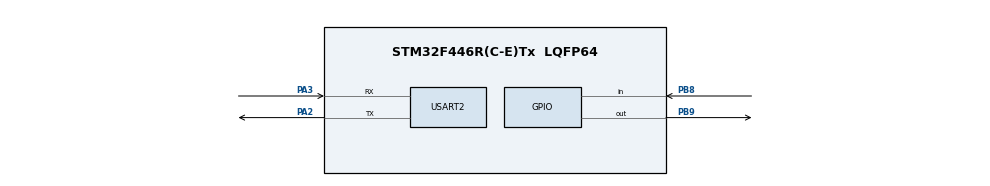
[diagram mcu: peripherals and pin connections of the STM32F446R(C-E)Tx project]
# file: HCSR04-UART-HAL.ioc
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Mcu.Family=STM32F4
Mcu.Name=STM32F446R(C-E)Tx
Mcu.Package=LQFP64
NVIC.PriorityGroup=NVIC_PRIORITYGROUP_4
PA2.Mode=Asynchronous
PA2.Signal=USART2_TX
PA3.Mode=Asynchronous
PA3.Signal=USART2_RX
PB8.Signal=GPIO_Input
PB9.Signal=GPIO_Output
PH0-OSC_IN.Mode=HSE-External-Oscillator
PH0-OSC_IN.Signal=RCC_OSC_IN
PH1-OSC_OUT.Mode=HSE-External-Oscillator
PH1-OSC_OUT.Signal=RCC_OSC_OUT
ProjectManager.HeapSize=0x200
ProjectManager.StackSize=0x400
ProjectManager.TargetToolchain=STM32CubeIDE
RCC.CortexFreq_Value=16000000
RCC.USBFreq_Value=96000000
RCC.VCOOutputFreq_Value=192000000
TIM2.Prescaler=15
USART2.VirtualMode=VM_ASYNC
VP_TIM2_VS_ClockSourceINT.Mode=Internal
board=custom

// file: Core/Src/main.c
/* USER CODE BEGIN Header */
/**
  ******************************************************************************
  * @file           : main.c
  * @brief          : Main program file for measuring distance using the HC-SR04
  *                   ultrasonic sensor with STM32F446RET6 and UART output.
  *
  * This program:
  *   - Uses TIM2 configured at 1 MHz (1 tick = 1 µs) to generate
  *     micro-delays and measure the pulse duration from the sensor;
  *   - Calculates the speed of sound taking into account the air temperature;
  *   - Generates a 10 µs pulse on the TRIG output to initiate the measurement;
  *   - Waits for the signal on the ECHO pin using a timer and timeout
  *     to prevent hanging if no signal is received;
  *   - Measures the pulse duration (accounting for possible timer overflow) and
  *     filters the results based on a range of values;
  *   - Calculates the distance considering that the measured time corresponds
  *     to the signal traversing the path twice;
  *   - Applies averaging of three measurements to improve result stability.
  *
  * Connections:
  *   - TRIG: GPIOB PIN9 (MCU output);
  *   - ECHO: GPIOB PIN8 (MCU input).
  *
  ******************************************************************************
  * @attention
  *
  * Copyright (c) 2025 STMicroelectronics.
  * All rights reserved.
  *
  * This software is licensed under terms that can be found in the LICENSE file
  * in the root directory of this software component.
  * If no LICENSE file comes with this software, it is provided AS-IS.
  *
  ******************************************************************************
  */
/* USER CODE END Header */
#include "main.h"

/* USER CODE BEGIN Includes */
#include <stdio.h>
#include <string.h>
/* USER CODE END Includes */

/* USER CODE BEGIN PD */
// Definitions for ultrasonic sensor pins
#define TRIG_PIN GPIO_PIN_9   // Pin for the trigger signal.
#define ECHO_PIN GPIO_PIN_8   // Pin for receiving the echo signal.
/* USER CODE END PD */

// Global variables
TIM_HandleTypeDef htim2;
UART_HandleTypeDef huart2;

/* USER CODE BEGIN PV */
float calibration_factor = 1.0;  // Calibration factor for adjusting measurements.
float temperature = 20.0;        // Air temperature in °C for calculating the speed of sound.
char uart_buffer[100];           // Buffer for forming the string to be sent via UART.
/* USER CODE END PV */

// Initialization function prototypes
void SystemClock_Config(void);
static void MX_GPIO_Init(void);
static void MX_TIM2_Init(void);
static void MX_USART2_UART_Init(void);

/* USER CODE BEGIN 0 */
// Function to create a delay in microseconds using TIM2
void micro_delay(uint32_t delay_us) {
  __HAL_TIM_SET_COUNTER(&htim2, 0); // Reset the timer counter to start the count.
  while (__HAL_TIM_GET_COUNTER(&htim2) < delay_us); // Wait in a loop until the counter reaches the specified value (delay_us microseconds).
}
/* USER CODE END 0 */

/**
  * @brief  Main application function (entry point).
  * @retval int
  */

int main(void) {
  /* USER CODE BEGIN 1 */
  // Declaration of local variables
  uint32_t pulse_start = 0;  // Timer value at the start of the echo pulse (in microseconds).
  uint32_t pulse_end = 0;    // Timer value at the end of the echo pulse.
  uint32_t pulse_width = 0;  // The difference between pulse_end and pulse_start, representing the echo pulse duration.
  uint32_t timeout = 30000;  // Maximum waiting time for the echo signal (30 ms).
  float distance = 0.0;      // Calculated distance to the object (in centimeters).
  float sound_speed = 0.0;   // Speed of sound (in cm/µs) calculated taking the air temperature into account.
  /* USER CODE END 1 */

  /* MCU Configuration--------------------------------------------------------*/
  /* Reset of all peripherals, Initializes the Flash interface and the Systick */
  HAL_Init();

  /* Configure the system clock */
  SystemClock_Config();

  // Initialize GPIO, timer, and UART according to the STM32CubeMX configuration.
  MX_GPIO_Init();
  MX_TIM2_Init();
  MX_USART2_UART_Init();

  /* USER CODE BEGIN 2 */
  // Start TIM2 (used for micro-delays and measuring pulse duration)
  HAL_TIM_Base_Start(&htim2);

  // Calculate the speed of sound considering the air temperature.
  // Formula: v = 331.3 + 0.606 * temperature, where v is the speed of sound in m/s.
  // Convert to cm/µs: 1 m/s = 100 cm / 1,000,000 µs = v / 10000 cm/µs.
  // At 20°C, we get approximately: (331.3 + 0.606 * 20) / 10000 ≈ 0.03434 cm/µs.
  sound_speed = (331.3 + 0.606 * temperature) / 10000.0;
  /* USER CODE END 2 */

  /* Infinite loop */
  /* USER CODE BEGIN WHILE */
  while (1) {
    // **** Generate trigger pulse for HC-SR04 ****
    // Reset the TRIG pin to LOW and wait 4 µs to stabilize the sensor.
    HAL_GPIO_WritePin(GPIOB, TRIG_PIN, GPIO_PIN_RESET);
    micro_delay(4);

    // Generate a HIGH pulse lasting 10 µs.
    HAL_GPIO_WritePin(GPIOB, TRIG_PIN, GPIO_PIN_SET);
    micro_delay(10);
    HAL_GPIO_WritePin(GPIOB, TRIG_PIN, GPIO_PIN_RESET);

    // **** Wait for the signal to appear on the ECHO pin ****
    // Use the timer to limit the waiting time (timeout) to avoid an infinite loop if no signal is received.
    uint32_t timeout_timer = __HAL_TIM_GET_COUNTER(&htim2); // Record the start time of the waiting period.
    while (HAL_GPIO_ReadPin(GPIOB, ECHO_PIN) == GPIO_PIN_RESET) {
      // If the difference between the current time and the start time exceeds the timeout, break the waiting loop.
      if ((__HAL_TIM_GET_COUNTER(&htim2) - timeout_timer) > timeout) {
        break;
      }
    }

    // After the waiting loop, check if the ECHO pin has been set to HIGH:
    // If the pin is still LOW, the signal was not received and the measurement is considered invalid.
    if (HAL_GPIO_ReadPin(GPIOB, ECHO_PIN) != GPIO_PIN_SET) {
      // Send an error message via UART and skip the current measurement.
      HAL_UART_Transmit(&huart2, (uint8_t*)"Error: No echo\r\n", strlen("Error: No echo\r\n"), 100);
      HAL_Delay(2000);
      continue;
    }

    // **** Measure the pulse duration on the ECHO pin ****
    // Record the time at the start of the pulse.
    pulse_start = __HAL_TIM_GET_COUNTER(&htim2);
    // Set an additional timeout for the pulse measurement.
    uint32_t pulse_timeout = pulse_start + timeout;

    // Wait while the ECHO pin remains HIGH:
    // If the measurement time exceeds the timeout, break out of the loop.
    while (HAL_GPIO_ReadPin(GPIOB, ECHO_PIN) == GPIO_PIN_SET) {
      if (__HAL_TIM_GET_COUNTER(&htim2) > pulse_timeout) {
        break;
      }
    }

    // Record the time at the end of the pulse.
    pulse_end = __HAL_TIM_GET_COUNTER(&htim2);

    // **** Calculate the pulse duration accounting for timer overflow ****
    // If the timer did not overflow, the difference between pulse_end and pulse_start gives the duration.
    // If an overflow occurred (pulse_end < pulse_start), adjust the value accordingly.
    if (pulse_end >= pulse_start) {
      pulse_width = pulse_end - pulse_start;
    } else {
      pulse_width = (0xFFFFFFFF - pulse_start) + pulse_end;
    }

    // **** Filter the measurements ****
    // Discard measurements that are too short (< 100 µs, which corresponds to ~1.7 cm)
    // or too long (> 25000 µs, which corresponds to ~425 cm), as they are likely erroneous.
    if (pulse_width > 25000 || pulse_width < 100) {
      HAL_UART_Transmit(&huart2, (uint8_t*)"Invalid pulse\r\n", strlen("Invalid pulse\r\n"), 100);
      continue;
    }

    // **** Calculate the distance ****
    // Use the formula: distance = (pulse_width * sound_speed * calibration_factor) / 2.
    // Division by 2 is required because the measured time corresponds to the signal traversing the path twice.
    distance = (pulse_width * sound_speed * calibration_factor) / 2.0;

    // **** Averaging multiple measurements ****
    // To improve result stability, store the last three measurements in a static buffer,
    // then calculate their average.
    static float avg_buf[3] = {0};
    static uint8_t idx = 0;
    avg_buf[idx++] = distance;
    if (idx >= 3) idx = 0;
    float avg = (avg_buf[0] + avg_buf[1] + avg_buf[2]) / 3;

    // **** Send the result via UART ****
    // Form a string with the averaged distance value and send it via UART.
    sprintf(uart_buffer, "Distance: %.1f cm\r\n", avg);
    HAL_UART_Transmit(&huart2, (uint8_t*)uart_buffer, strlen(uart_buffer), 100);

    // A short delay (200 ms) between measurements.
    HAL_Delay(200);
    /* USER CODE END WHILE */
  }
}

void SystemClock_Config(void) {
  RCC_OscInitTypeDef RCC_OscInitStruct = {0};
  RCC_ClkInitTypeDef RCC_ClkInitStruct = {0};

  /** Configure the main internal regulator output voltage */
  __HAL_RCC_PWR_CLK_ENABLE();
  __HAL_PWR_VOLTAGESCALING_CONFIG(PWR_REGULATOR_VOLTAGE_SCALE3);

  /** Initializes the RCC Oscillators according to the specified parameters
  in the RCC_OscInitTypeDef structure */
  RCC_OscInitStruct.OscillatorType = RCC_OSCILLATORTYPE_HSI;
  RCC_OscInitStruct.HSIState = RCC_HSI_ON;
  RCC_OscInitStruct.HSICalibrationValue = RCC_HSICALIBRATION_DEFAULT;
  RCC_OscInitStruct.PLL.PLLState = RCC_PLL_NONE;
  if (HAL_RCC_OscConfig(&RCC_OscInitStruct) != HAL_OK) {
    Error_Handler();
  }

  /** Initializes the CPU, AHB and APB buses clocks */
  RCC_ClkInitStruct.ClockType = RCC_CLOCKTYPE_HCLK|RCC_CLOCKTYPE_SYSCLK
                              |RCC_CLOCKTYPE_PCLK1|RCC_CLOCKTYPE_PCLK2;
  RCC_ClkInitStruct.SYSCLKSource = RCC_SYSCLKSOURCE_HSI;
  RCC_ClkInitStruct.AHBCLKDivider = RCC_SYSCLK_DIV1;
  RCC_ClkInitStruct.APB1CLKDivider = RCC_HCLK_DIV1;
  RCC_ClkInitStruct.APB2CLKDivider = RCC_HCLK_DIV1;

  if (HAL_RCC_ClockConfig(&RCC_ClkInitStruct, FLASH_LATENCY_0) != HAL_OK) {
    Error_Handler();
  }
}

static void MX_TIM2_Init(void) {

  TIM_ClockConfigTypeDef sClockSourceConfig = {0};
  TIM_MasterConfigTypeDef sMasterConfig = {0};

  htim2.Instance = TIM2;
  htim2.Init.Prescaler = 15;
  htim2.Init.CounterMode = TIM_COUNTERMODE_UP;
  htim2.Init.Period = 4294967295;
  htim2.Init.ClockDivision = TIM_CLOCKDIVISION_DIV1;
  htim2.Init.AutoReloadPreload = TIM_AUTORELOAD_PRELOAD_DISABLE;
  if (HAL_TIM_Base_Init(&htim2) != HAL_OK) {
    Error_Handler();
  }
  sClockSourceConfig.ClockSource = TIM_CLOCKSOURCE_INTERNAL;
  if (HAL_TIM_ConfigClockSource(&htim2, &sClockSourceConfig) != HAL_OK) {
    Error_Handler();
  }
  sMasterConfig.MasterOutputTrigger = TIM_TRGO_RESET;
  sMasterConfig.MasterSlaveMode = TIM_MASTERSLAVEMODE_DISABLE;
  if (HAL_TIMEx_MasterConfigSynchronization(&htim2, &sMasterConfig) != HAL_OK) {
    Error_Handler();
  }

}

static void MX_USART2_UART_Init(void) {

  huart2.Instance = USART2;
  huart2.Init.BaudRate = 115200;
  huart2.Init.WordLength = UART_WORDLENGTH_8B;
  huart2.Init.StopBits = UART_STOPBITS_1;
  huart2.Init.Parity = UART_PARITY_NONE;
  huart2.Init.Mode = UART_MODE_TX_RX;
  huart2.Init.HwFlowCtl = UART_HWCONTROL_NONE;
  huart2.Init.OverSampling = UART_OVERSAMPLING_16;
  if (HAL_UART_Init(&huart2) != HAL_OK) {
    Error_Handler();
  }

}

static void MX_GPIO_Init(void) {
  GPIO_InitTypeDef GPIO_InitStruct = {0};

  /* GPIO Ports Clock Enable */
  __HAL_RCC_GPIOH_CLK_ENABLE();
  __HAL_RCC_GPIOA_CLK_ENABLE();
  __HAL_RCC_GPIOB_CLK_ENABLE();

  /*Configure GPIO pin Output Level */
  HAL_GPIO_WritePin(GPIOB, TRIG_PIN, GPIO_PIN_RESET);

  /*Configure GPIO pin: PB8 */
  GPIO_InitStruct.Pin = ECHO_PIN;
  GPIO_InitStruct.Mode = GPIO_MODE_INPUT;
  GPIO_InitStruct.Pull = GPIO_NOPULL;
  HAL_GPIO_Init(GPIOB, &GPIO_InitStruct);

  /*Configure GPIO pin: PB9 */
  GPIO_InitStruct.Pin = TRIG_PIN;
  GPIO_InitStruct.Mode = GPIO_MODE_OUTPUT_PP;
  GPIO_InitStruct.Pull = GPIO_NOPULL;
  GPIO_InitStruct.Speed = GPIO_SPEED_FREQ_LOW;
  HAL_GPIO_Init(GPIOB, &GPIO_InitStruct);

}

void Error_Handler(void) {
  __disable_irq();
  while (1) {
  }
}
